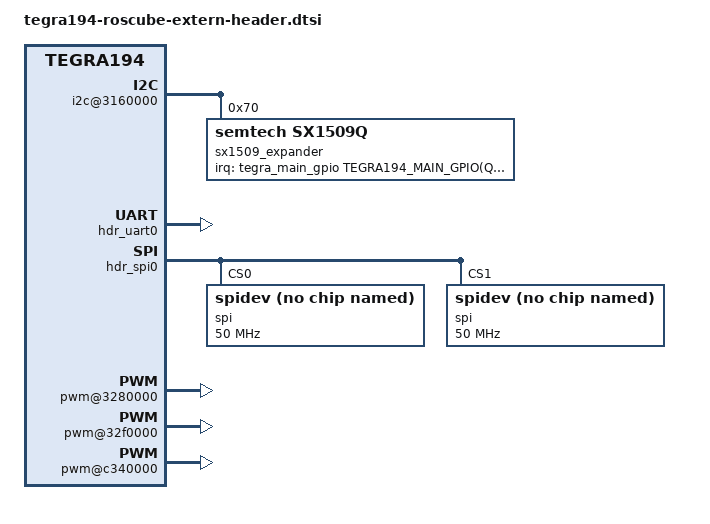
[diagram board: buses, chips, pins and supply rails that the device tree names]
/*
 * Copyright (c) 2020, ADLINK Technology Inc. Advanved Robotic Platform Group.  All rights reserved.
 *
 * This program is free software; you can redistribute it and/or modify
 * it under the terms of the GNU General Public License as published by
 * the Free Software Foundation; version 2 of the License.
 *
 * This program is distributed in the hope that it will be useful, but WITHOUT
 * ANY WARRANTY; without even the implied warranty of MERCHANTABILITY or
 * FITNESS FOR A PARTICULAR PURPOSE.  See the GNU General Public License for
 * more details.
 */

/ {

	/* GPIO Expander for 40 pin header */
	i2c@3160000 {
		status = "okay";

		/* for 40 pin GPIO exapnder */
		sx1509_expander: i2c_gpio_expander@70 {
			#gpio-cells = <2>;
			#interrupt-cells = <2>;
			compatible = "semtech,sx1509q";
			reg = <0x70>;
			interrupt-parent = <&tegra_main_gpio>;
			interrupts = <TEGRA194_MAIN_GPIO(Q, 6) GPIO_ACTIVE_LOW>;
			gpio-controller;
			interrupt-controller;
		};
	};

	/* UART0 on external header */
	hdr_uart0: serial@3110000 {
		compatible = "nvidia,tegra186-hsuart";
		status = "okay";
	};
    
    /* SPI1 in external header */
	hdr_spi0: spi@3210000 {
	
		status = "okay";

		spi@0 { /* chip select 0 */
			compatible = "spidev";
			reg = <0x0>;
			spi-max-frequency = <50000000>;
			controller-data {
				nvidia,enable-hw-based-cs;
				nvidia,rx-clk-tap-delay = <0x10>;
				nvidia,tx-clk-tap-delay = <0x0>;
			};
		};

		spi@1 { /* chip select 1 */
			compatible = "spidev";
			reg = <0x1>;
			spi-max-frequency = <50000000>;
			controller-data {
				nvidia,enable-hw-based-cs;
				nvidia,rx-clk-tap-delay = <0x10>;
				nvidia,tx-clk-tap-delay = <0x0>;
			};
		};
	};

	pwm@3280000 { /* GPIO13_PWM */
		status = "okay";
	};

	pwm@32f0000 { /* GPIO07_PWM */
		status = "okay";
	};

	pwm@c340000 { /* GPIO12_PWM */
		status = "okay";
	};
};
